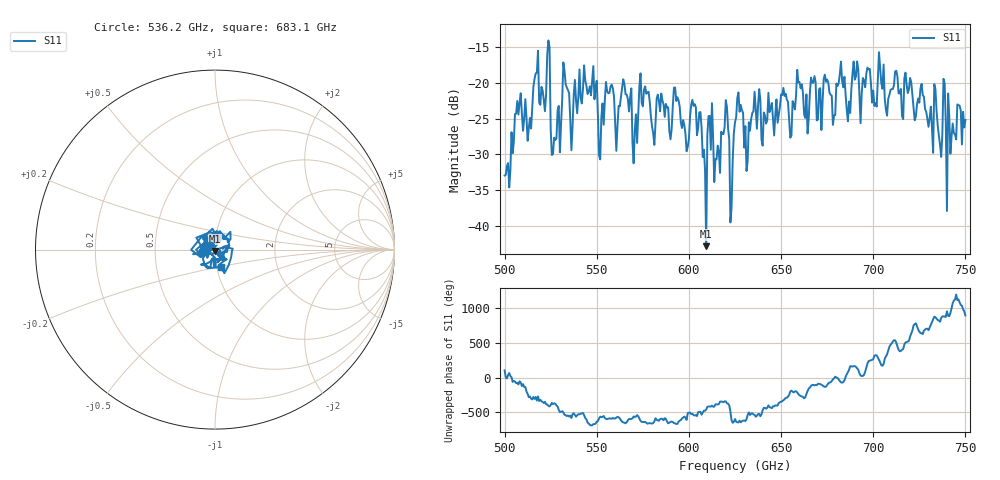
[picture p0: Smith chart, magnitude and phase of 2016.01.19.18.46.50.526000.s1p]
!Created with skrf (http://scikit-rf.org).
# GHz S RI R 50.0
!freq ReS11 ImS11
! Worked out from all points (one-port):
!   401 points, 500 GHz to 750 GHz, reference 50 ohm
!   lowest |S11| = -42.9 dB at 609.4 GHz (marker M1), VSWR 1.01, Z = 49.9 - j0.704 ohm
!   |S11| at or under -10 dB: start of sweep to end of sweep
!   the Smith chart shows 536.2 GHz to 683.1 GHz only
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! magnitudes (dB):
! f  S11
! 500 GHz  -33.0
! 507.5 GHz  -24.4
! 513.8 GHz  -24.9
! 516.9 GHz  -18.6
! 523.8 GHz  -14.0
! 526.9 GHz  -27.7
! 531.2 GHz  -22.3
! 562.5 GHz  -23.3
! 570.6 GHz  -26.7
! 574.4 GHz  -22.8
! 580.6 GHz  -27.1
! 593.8 GHz  -22.0
! 598.8 GHz  -29.6
! 602.5 GHz  -23.2
! 609.4 GHz  -42.9
! 611.2 GHz  -24.6
! 615 GHz  -30.7
! 620 GHz  -22.4
! 623.1 GHz  -37.5
! 625 GHz  -25.5
! 656.2 GHz  -22.5
! 660 GHz  -19.9
! 663.8 GHz  -21.6
! 667.5 GHz  -20.0
! 687.5 GHz  -24.2
! 718.8 GHz  -21.4
! 736.2 GHz  -28.7
! 750 GHz  -25.2
